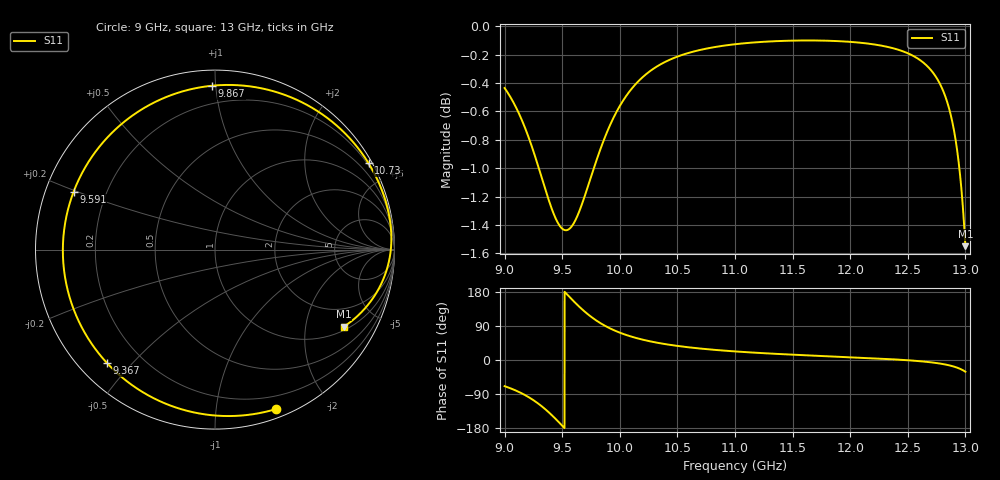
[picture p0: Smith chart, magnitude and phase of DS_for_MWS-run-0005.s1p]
! TOUCHSTONE file generated by CST DESIGN STUDIO
! Date and time: Tue Feb  4 18:40:43 2025
! Project name: C:\Work\MatlabApps\UnitCellOptimizationMatlab\CST\unitcell.cst
! Tree item: Tasks\Sweep1\SPara1\S-Parameters
! Header version: 2024
! Port assignment regex: !\s*Touchstone port\s*([0-9]+)\s*=\s*(CST MWS port|CST DES external port|CST DES block port)\s*(.+)\s* \(\"(.*)\"\)(\s*mode\s*([0-9]+))?.*
! Touchstone port assignment:
! Touchstone port 1 = CST DES external port 1 ("")
# GHz S MA R 50
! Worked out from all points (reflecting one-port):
!   4001 points, 9 GHz to 13 GHz, reference 50 ohm
!   lowest |S11| = -1.5 dB at 13 GHz (marker M1), VSWR 11.25, Z = 56.9 - j163 ohm
!   phase of S11 starts at -69 deg and turns -322 deg over the sweep
!   S11 on the Smith chart (normalised r, x): 9 GHz: 0.08, -1.45; 9.367 GHz: 0.08, -0.43; 9.591 GHz: 0.08, +0.20; 9.867 GHz: 0.09, +0.98; 10.73 GHz: 0.14, +3.81; 13 GHz: 1.14, -3.26
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9  0.9512 -69.0
9.102  0.9358 -81.2
9.215  0.9123 -99.2
9.294  0.8921 -115.5
9.367  0.8726 -133.6
9.439  0.8565 -154.3
9.5  0.8487 -173.4
9.545  0.8477 172.2
9.591  0.8512 157.7
9.659  0.8629 137.5
9.723  0.8782 120.6
9.791  0.8954 105.3
9.867  0.9132 91.0
9.933  0.9263 80.8
10  0.9374 72.2
10.102  0.9506 61.6
10.216  0.961 52.4
10.347  0.9693 44.4
10.5  0.9757 37.2
10.727  0.9816 29.4
11  0.9856 22.6
11.5  0.9885 14.0
12  0.9875 7.3
12.5  0.9784 -0.7
12.694  0.9658 -5.9
12.838  0.9416 -12.6
12.926  0.9058 -19.9
13  0.8367 -30.9
